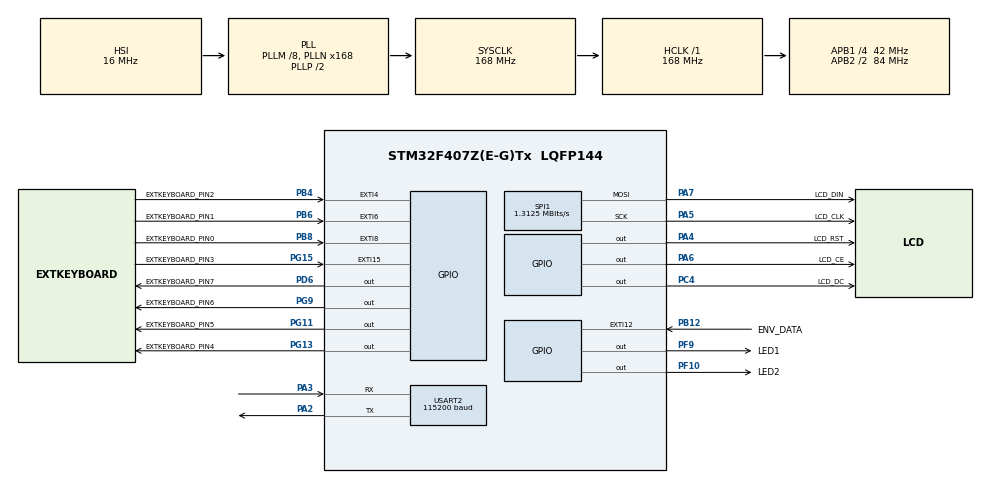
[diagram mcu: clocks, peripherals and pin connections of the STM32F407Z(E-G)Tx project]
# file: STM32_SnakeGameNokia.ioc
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ADC1.Channel-1\#ChannelRegularConversion=ADC_CHANNEL_TEMPSENSOR
ADC1.ClockPrescaler=ADC_CLOCK_SYNC_PCLK_DIV8
ADC1.ContinuousConvMode=ENABLE
ADC1.EOCSelection=ADC_EOC_SEQ_CONV
ADC1.InjNumberOfConversion=0
ADC1.NbrOfConversion=1
ADC1.NbrOfConversionFlag=1
ADC1.Rank-1\#ChannelRegularConversion=1
ADC1.SamplingTime-1\#ChannelRegularConversion=ADC_SAMPLETIME_480CYCLES
ADC1.master=1
FREERTOS.Queues01=queueUSART2,256,uint32_t,0,Dynamic,NULL,NULL;queueLCD,512,uint32_t,0,Dynamic,NULL,NULL
FREERTOS.Tasks01=task100ms,0,128,startTask100ms,Default,NULL,Dynamic,NULL,NULL;task500ms,1,128,startTask500ms,Default,NULL,Dynamic,NULL,NULL
FREERTOS.configMAX_TASK_NAME_LEN=16
FREERTOS.configTICK_RATE_HZ=100
FREERTOS.configUSE_IDLE_HOOK=1
FREERTOS.configUSE_NEWLIB_REENTRANT=1
Mcu.Family=STM32F4
Mcu.Name=STM32F407Z(E-G)Tx
Mcu.Package=LQFP144
NVIC.EXTI15_10_IRQn=true\:5\:0\:false\:false\:true\:true\:true\:true\:true
NVIC.EXTI4_IRQn=true\:5\:0\:false\:false\:true\:true\:true\:true\:true
NVIC.EXTI9_5_IRQn=true\:5\:0\:false\:false\:true\:true\:true\:true\:true
NVIC.PriorityGroup=NVIC_PRIORITYGROUP_4
NVIC.SPI1_IRQn=true\:5\:0\:false\:false\:true\:true\:true\:true\:true
NVIC.TIM1_UP_TIM10_IRQn=true\:15\:0\:false\:false\:true\:false\:false\:true\:true
NVIC.TIM2_IRQn=true\:5\:0\:false\:false\:true\:true\:true\:true\:true
NVIC.TIM3_IRQn=true\:5\:0\:false\:false\:true\:true\:true\:true\:true
NVIC.TIM4_IRQn=true\:5\:0\:false\:false\:true\:true\:true\:true\:true
NVIC.TimeBase=TIM1_UP_TIM10_IRQn
NVIC.TimeBaseIP=TIM1
NVIC.USART2_IRQn=true\:5\:0\:false\:false\:true\:true\:true\:true\:true
PA2.Mode=Asynchronous
PA2.Signal=USART2_TX
PA3.Mode=Asynchronous
PA3.Signal=USART2_RX
PA4.GPIO_Label=LCD_RST
PA4.GPIO_PuPd=GPIO_PULLUP
PA4.GPIO_Speed=GPIO_SPEED_FREQ_MEDIUM
PA4.PinState=GPIO_PIN_SET
PA4.Signal=GPIO_Output
PA5.GPIO_Label=LCD_CLK
PA5.GPIO_Mode=GPIO_MODE_AF_PP
PA5.GPIO_PuPd=GPIO_PULLDOWN
PA5.GPIO_Speed=GPIO_SPEED_FREQ_MEDIUM
PA5.Mode=TX_Only_Simplex_Unidirect_Master
PA5.Signal=SPI1_SCK
PA6.GPIO_Label=LCD_CE
PA6.GPIO_PuPd=GPIO_PULLUP
PA6.GPIO_Speed=GPIO_SPEED_FREQ_MEDIUM
PA6.PinState=GPIO_PIN_SET
PA6.Signal=GPIO_Output
PA7.GPIO_Label=LCD_DIN
PA7.GPIO_PuPd=GPIO_PULLUP
PA7.GPIO_Speed=GPIO_SPEED_FREQ_MEDIUM
PA7.Mode=TX_Only_Simplex_Unidirect_Master
PA7.Signal=SPI1_MOSI
PB12.GPIO_Label=ENV_DATA
PB12.GPIO_ModeDefaultEXTI=GPIO_MODE_IT_RISING_FALLING
PB12.GPIO_PuPd=GPIO_PULLUP
PB12.Signal=GPXTI12
PB4.GPIO_Label=EXTKEYBOARD_PIN2
PB4.GPIO_ModeDefaultEXTI=GPIO_MODE_IT_FALLING
PB4.GPIO_PuPd=GPIO_PULLUP
PB4.Signal=GPXTI4
PB6.GPIO_Label=EXTKEYBOARD_PIN1
PB6.GPIO_ModeDefaultEXTI=GPIO_MODE_IT_FALLING
PB6.GPIO_PuPd=GPIO_PULLUP
PB6.Signal=GPXTI6
PB8.GPIO_Label=EXTKEYBOARD_PIN0
PB8.GPIO_ModeDefaultEXTI=GPIO_MODE_IT_FALLING
PB8.GPIO_PuPd=GPIO_PULLUP
PB8.Signal=GPXTI8
PC4.GPIO_Label=LCD_DC
PC4.GPIO_PuPd=GPIO_PULLUP
PC4.GPIO_Speed=GPIO_SPEED_FREQ_MEDIUM
PC4.PinState=GPIO_PIN_SET
PC4.Signal=GPIO_Output
PD6.GPIO_Label=EXTKEYBOARD_PIN7
PD6.Signal=GPIO_Output
PF10.GPIO_Label=LED2
PF10.GPIO_PuPd=GPIO_PULLUP
PF10.PinState=GPIO_PIN_SET
PF10.Signal=GPIO_Output
PF9.GPIO_Label=LED1
PF9.GPIO_ModeDefaultOutputPP=GPIO_MODE_OUTPUT_PP
PF9.GPIO_PuPd=GPIO_PULLUP
PF9.PinState=GPIO_PIN_SET
PF9.Signal=GPIO_Output
PG11.GPIO_Label=EXTKEYBOARD_PIN5
PG11.Signal=GPIO_Output
PG13.GPIO_Label=EXTKEYBOARD_PIN4
PG13.Signal=GPIO_Output
PG15.GPIO_Label=EXTKEYBOARD_PIN3
PG15.GPIO_ModeDefaultEXTI=GPIO_MODE_IT_FALLING
PG15.GPIO_PuPd=GPIO_PULLUP
PG15.Signal=GPXTI15
PG9.GPIO_Label=EXTKEYBOARD_PIN6
PG9.Signal=GPIO_Output
ProjectManager.HeapSize=0x200
ProjectManager.StackSize=0x400
ProjectManager.TargetToolchain=STM32CubeIDE
RCC.48MHZClocksFreq_Value=84000000
RCC.AHBFreq_Value=168000000
RCC.APB1CLKDivider=RCC_HCLK_DIV4
RCC.APB1Freq_Value=42000000
RCC.APB1TimFreq_Value=84000000
RCC.APB2CLKDivider=RCC_HCLK_DIV2
RCC.APB2Freq_Value=84000000
RCC.APB2TimFreq_Value=168000000
RCC.CortexFreq_Value=168000000
RCC.HCLKFreq_Value=168000000
RCC.HSE_VALUE=25000000
RCC.HSI_VALUE=16000000
RCC.LSE_VALUE=32768
RCC.PLLM=8
RCC.PLLN=168
RCC.SYSCLKFreq_VALUE=168000000
RCC.SYSCLKSource=RCC_SYSCLKSOURCE_PLLCLK
RCC.VCOOutputFreq_Value=336000000
SPI1.BaudRatePrescaler=SPI_BAUDRATEPRESCALER_64
SPI1.CLKPolarity=SPI_POLARITY_LOW
SPI1.CalculateBaudRate=1.3125 MBits/s
SPI1.Direction=SPI_DIRECTION_2LINES
SPI1.Mode=SPI_MODE_MASTER
SPI1.VirtualType=VM_MASTER
TIM2.CounterMode=TIM_COUNTERMODE_UP
TIM2.Period=25
TIM2.Prescaler=32000
TIM2.TIM_MasterOutputTrigger=TIM_TRGO_UPDATE
TIM3.AutoReloadPreload=TIM_AUTORELOAD_PRELOAD_DISABLE
TIM3.CounterMode=TIM_COUNTERMODE_DOWN
TIM3.Period=3000
TIM3.Prescaler=63000
TIM3.TIM_MasterOutputTrigger=TIM_TRGO_UPDATE
TIM4.CounterMode=TIM_COUNTERMODE_UP
TIM4.Period=1000
TIM4.Prescaler=84
TIM4.TIM_MasterOutputTrigger=TIM_TRGO_UPDATE
USART2.BaudRate=115200
USART2.OverSampling=UART_OVERSAMPLING_8
USART2.Parity=PARITY_NONE
USART2.VirtualMode=VM_ASYNC
VP_ADC1_TempSens_Input.Mode=IN-TempSens
VP_FREERTOS_VS_CMSIS_V1.Mode=CMSIS_V1
VP_SYS_VS_tim1.Mode=TIM1
VP_TIM2_VS_ClockSourceINT.Mode=Internal
VP_TIM3_VS_ClockSourceINT.Mode=Internal
VP_TIM4_VS_ClockSourceINT.Mode=Internal
board=custom

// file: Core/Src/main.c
/* USER CODE BEGIN Header */
/**
  ******************************************************************************
  * @file           : main.c
  * @brief          : Main program body
  ******************************************************************************
  * @attention
  *
  * Copyright (c) 2022 STMicroelectronics.
  * All rights reserved.
  *
  * This software is licensed under terms that can be found in the LICENSE file
  * in the root directory of this software component.
  * If no LICENSE file comes with this software, it is provided AS-IS.
  *
  ******************************************************************************
  */
/* USER CODE END Header */
#include "main.h"
#include "cmsis_os.h"
#include "adc.h"
#include "spi.h"
#include "tim.h"
#include "usart.h"
#include "gpio.h"

/* USER CODE BEGIN Includes */
#include "SEGGER_SYSVIEW.h"
#include "service_lcd.h"
#include "service_keyboard.h"
#include "service_envData.h"
/* USER CODE END Includes */

void SystemClock_Config(void);
void MX_FREERTOS_Init(void);

int main(void)
{

  /* MCU Configuration--------------------------------------------------------*/

  /* Reset of all peripherals, Initializes the Flash interface and the Systick. */
  HAL_Init();

  /* Configure the system clock */
  SystemClock_Config();

  /* Initialize all configured peripherals */
  MX_GPIO_Init();
  MX_USART2_UART_Init();
  MX_SPI1_Init();
  MX_ADC1_Init();
  MX_TIM2_Init();
  MX_TIM3_Init();
  MX_TIM4_Init();
  /* USER CODE BEGIN 2 */

  // ***** SEGGER SystemView configuration *****
  volatile unsigned int *DWT_CYCCNT  = (volatile unsigned int *)0xE0001004; //address of the register
  volatile unsigned int *DWT_CONTROL = (volatile unsigned int *)0xE0001000; //address of the register
  volatile unsigned int *DWT_LAR   = (volatile unsigned int *)0xE0001FB0; //address of the register
  volatile unsigned int *SCB_DEMCR  = (volatile unsigned int *)0xE000EDFC; //address of the register

  *SCB_DEMCR |= 0x01000000;
  *DWT_LAR = 0xC5ACCE55; // unlock
  *DWT_CYCCNT = 0; // reset the counter
  *DWT_CONTROL |= 1 ; // enable the counter

  //SEGGER_SYSVIEW_Conf();
  //SEGGER_SYSVIEW_Start();

  // ***** LCD Start-up routine *****
  extern LCD_displayBuffer_t *LCD_displayBuffer01;
  LCD_displayBuffer01 = LCD_SPI_Cmd_initDisplay(LCD_displayBuffer01); // Use default buffer
  /* USER CODE END 2 */

  /* Call init function for freertos objects (in freertos.c) */
  MX_FREERTOS_Init();

  /* Start scheduler */
  osKernelStart();

  /* We should never get here as control is now taken by the scheduler */
  /* Infinite loop */
  while (1) {}

}

void SystemClock_Config(void)
{
  RCC_OscInitTypeDef RCC_OscInitStruct = {0};
  RCC_ClkInitTypeDef RCC_ClkInitStruct = {0};

  /** Configure the main internal regulator output voltage
  */
  __HAL_RCC_PWR_CLK_ENABLE();
  __HAL_PWR_VOLTAGESCALING_CONFIG(PWR_REGULATOR_VOLTAGE_SCALE1);

  /** Initializes the RCC Oscillators according to the specified parameters
  * in the RCC_OscInitTypeDef structure.
  */
  RCC_OscInitStruct.OscillatorType = RCC_OSCILLATORTYPE_HSI;
  RCC_OscInitStruct.HSIState = RCC_HSI_ON;
  RCC_OscInitStruct.HSICalibrationValue = RCC_HSICALIBRATION_DEFAULT;
  RCC_OscInitStruct.PLL.PLLState = RCC_PLL_ON;
  RCC_OscInitStruct.PLL.PLLSource = RCC_PLLSOURCE_HSI;
  RCC_OscInitStruct.PLL.PLLM = 8;
  RCC_OscInitStruct.PLL.PLLN = 168;
  RCC_OscInitStruct.PLL.PLLP = RCC_PLLP_DIV2;
  RCC_OscInitStruct.PLL.PLLQ = 4;
  if (HAL_RCC_OscConfig(&RCC_OscInitStruct) != HAL_OK)
  {
    Error_Handler();
  }

  /** Initializes the CPU, AHB and APB buses clocks
  */
  RCC_ClkInitStruct.ClockType = RCC_CLOCKTYPE_HCLK|RCC_CLOCKTYPE_SYSCLK
                              |RCC_CLOCKTYPE_PCLK1|RCC_CLOCKTYPE_PCLK2;
  RCC_ClkInitStruct.SYSCLKSource = RCC_SYSCLKSOURCE_PLLCLK;
  RCC_ClkInitStruct.AHBCLKDivider = RCC_SYSCLK_DIV1;
  RCC_ClkInitStruct.APB1CLKDivider = RCC_HCLK_DIV4;
  RCC_ClkInitStruct.APB2CLKDivider = RCC_HCLK_DIV2;

  if (HAL_RCC_ClockConfig(&RCC_ClkInitStruct, FLASH_LATENCY_5) != HAL_OK)
  {
    Error_Handler();
  }
}

void HAL_TIM_PeriodElapsedCallback(TIM_HandleTypeDef *htim)
{
  if (htim->Instance == TIM1) {
    HAL_IncTick();
  }
  /* USER CODE BEGIN Callback 1 */

  // TIM 2 - Time used for keyboard debouncing
  else if (htim->Instance == TIM2) {
	  serviceKeyboard_TIM_PeriodElapsedCallback();
  }
  // TIM 3 - Time used for querying DHT22 environmental data
  else if (htim->Instance == TIM3)
  {
	  serviceEnvData_TIM_PeriodElapsedCallback_LowRes();
  }
  else if(htim->Instance == TIM4)
  {
    serviceEnvData_TIM_PeriodElapsedCallback_HighRes();
  }

  /* USER CODE END Callback 1 */
}

void Error_Handler(void)
{
  __disable_irq();
  while (1)
  {
  }
}

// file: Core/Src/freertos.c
/* USER CODE BEGIN Header */
/**
 ******************************************************************************
 * File Name          : freertos.c
 * Description        : Code for freertos applications
 ******************************************************************************
 * @attention
 *
 * Copyright (c) 2022 STMicroelectronics.
 * All rights reserved.
 *
 * This software is licensed under terms that can be found in the LICENSE file
 * in the root directory of this software component.
 * If no LICENSE file comes with this software, it is provided AS-IS.
 *
 ******************************************************************************
 */
/* USER CODE END Header */

#include "FreeRTOS.h"
#include "task.h"
#include "main.h"
#include "cmsis_os.h"

/* USER CODE BEGIN Includes */
#include "task_manager.h"
/* USER CODE END Includes */

/* USER CODE BEGIN Variables */

osPoolId mPoolUSART2Handle;
osPoolId mPoolLCDHandle;

/* USER CODE END Variables */
osThreadId task100msHandle;
osThreadId task500msHandle;
osMessageQId queueUSART2Handle;
osMessageQId queueLCDHandle;

void startTask100ms(void const * argument);
void startTask500ms(void const * argument);

void MX_FREERTOS_Init(void); /* (MISRA C 2004 rule 8.1) */

/* GetIdleTaskMemory prototype (linked to static allocation support) */
void vApplicationGetIdleTaskMemory( StaticTask_t **ppxIdleTaskTCBBuffer, StackType_t **ppxIdleTaskStackBuffer, uint32_t *pulIdleTaskStackSize );

/* Hook prototypes */
void vApplicationIdleHook(void);

/* USER CODE BEGIN 2 */
__weak void vApplicationIdleHook(void)
{
	taskManager_idleTask_init();
	for (;;)
	{
		taskManager_idleTask_run();
	}
}
/* USER CODE END 2 */

/* USER CODE BEGIN GET_IDLE_TASK_MEMORY */
static StaticTask_t xIdleTaskTCBBuffer;
static StackType_t xIdleStack[configMINIMAL_STACK_SIZE];

void vApplicationGetIdleTaskMemory(StaticTask_t **ppxIdleTaskTCBBuffer, StackType_t **ppxIdleTaskStackBuffer, uint32_t *pulIdleTaskStackSize)
{
	*ppxIdleTaskTCBBuffer = &xIdleTaskTCBBuffer;
	*ppxIdleTaskStackBuffer = &xIdleStack[0];
	*pulIdleTaskStackSize = configMINIMAL_STACK_SIZE;
	/* place for user code */
}
/* USER CODE END GET_IDLE_TASK_MEMORY */

void MX_FREERTOS_Init(void) {

  /* Create the queue(s) */
  /* definition and creation of queueUSART2 */
  osMessageQDef(queueUSART2, 256, uint32_t); // Size of message addresses
  queueUSART2Handle = osMessageCreate(osMessageQ(queueUSART2), NULL);

  /* definition and creation of queueLCD */
  osMessageQDef(queueLCD, 512, uint32_t);
  queueLCDHandle = osMessageCreate(osMessageQ(queueLCD), NULL);

  /* USER CODE BEGIN RTOS_QUEUES */
	/* add queues, ... */
	osPoolDef(mPoolUSART2Handle, 256, USART_message_t); // Size of message contents
	mPoolUSART2Handle = osPoolCreate(osPool(mPoolUSART2Handle));

	osPoolDef(mPoolLCDHandle, 512, LCD_dataPackage_t);
	mPoolLCDHandle = osPoolCreate(osPool(mPoolLCDHandle));
  /* USER CODE END RTOS_QUEUES */

  /* Create the thread(s) */
  /* definition and creation of task100ms */
  osThreadDef(task100ms, startTask100ms, osPriorityNormal, 0, 128);
  task100msHandle = osThreadCreate(osThread(task100ms), NULL);

  /* definition and creation of task500ms */
  osThreadDef(task500ms, startTask500ms, osPriorityAboveNormal, 0, 128);
  task500msHandle = osThreadCreate(osThread(task500ms), NULL);

}

void startTask100ms(void const * argument)
{
  /* USER CODE BEGIN startTask100ms */
	taskManager_100ms_init();
	uint8_t taskCounts;
	for (;;)
	{
		taskManager_100ms_run();

		// Caller for task500ms
		taskCounts = (uint8_t)((taskCounts + 1) % 5);
		if (taskCounts == 4)
			osThreadResume(task500msHandle);
		osDelay(100);
	}
  /* USER CODE END startTask100ms */
}

void startTask500ms(void const * argument)
{
  /* USER CODE BEGIN startTask500ms */
	taskManager_500ms_init();
	for (;;)
	{
		taskManager_500ms_run();
		osThreadSuspend(task500msHandle);
	}
  /* USER CODE END startTask500ms */
}
